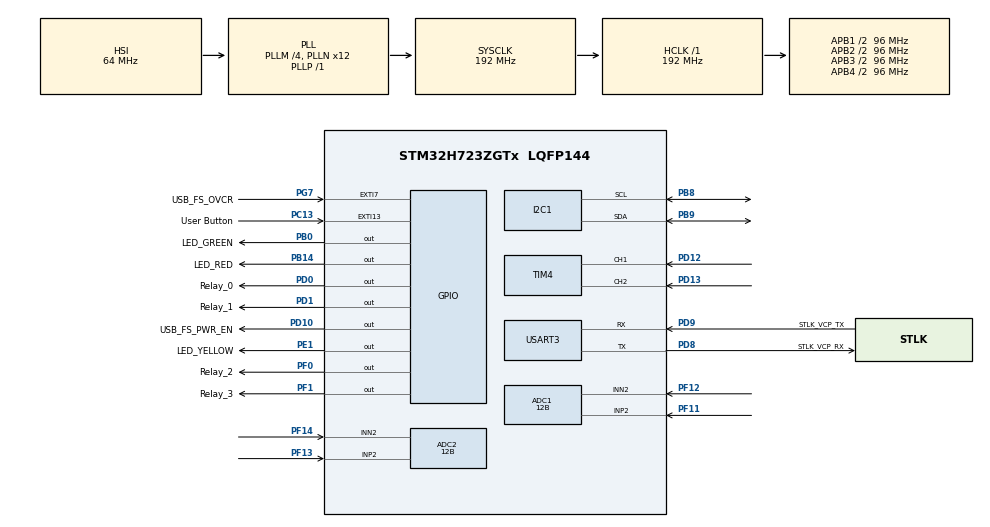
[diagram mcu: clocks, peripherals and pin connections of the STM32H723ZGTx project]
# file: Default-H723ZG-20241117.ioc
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ADC1.Channel-5\#ChannelRegularConversion=ADC_CHANNEL_2
ADC1.ClockPrescaler=ADC_CLOCK_ASYNC_DIV2
ADC1.ConversionDataManagement=ADC_CONVERSIONDATA_DMA_CIRCULAR
ADC1.DMAAccessModeView=ENABLE
ADC1.ExternalTrigConv=ADC_EXTERNALTRIG_T2_TRGO
ADC1.ExternalTrigConvEdge=ADC_EXTERNALTRIGCONVEDGE_RISING
ADC1.Mode=ADC_DUALMODE_REGSIMULT
ADC1.NbrOfConversionFlag=1
ADC1.OffsetNumber-5\#ChannelRegularConversion=ADC_OFFSET_NONE
ADC1.OffsetSignedSaturation-5\#ChannelRegularConversion=DISABLE
ADC1.Overrun=ADC_OVR_DATA_OVERWRITTEN
ADC1.Rank-5\#ChannelRegularConversion=1
ADC1.Resolution=ADC_RESOLUTION_12B
ADC1.SamplingTime-5\#ChannelRegularConversion=ADC_SAMPLETIME_32CYCLES_5
ADC1.SingleDiff-5\#ChannelRegularConversion=ADC_DIFFERENTIAL_ENDED
ADC1.master=1
ADC2.Channel-4\#ChannelRegularConversion=ADC_CHANNEL_2
ADC2.ClockPrescaler=ADC_CLOCK_ASYNC_DIV2
ADC2.ConversionDataManagement=ADC_CONVERSIONDATA_DMA_CIRCULAR
ADC2.DMAAccessModeView=ENABLE
ADC2.Mode=ADC_DUALMODE_REGSIMULT
ADC2.NbrOfConversionFlag=1
ADC2.OffsetNumber-4\#ChannelRegularConversion=ADC_OFFSET_NONE
ADC2.OffsetSignedSaturation-4\#ChannelRegularConversion=DISABLE
ADC2.Overrun=ADC_OVR_DATA_OVERWRITTEN
ADC2.Rank-4\#ChannelRegularConversion=1
ADC2.Resolution=ADC_RESOLUTION_12B
ADC2.SamplingTime-4\#ChannelRegularConversion=ADC_SAMPLETIME_32CYCLES_5
ADC2.SingleDiff-4\#ChannelRegularConversion=ADC_DIFFERENTIAL_ENDED
Dma.ADC1.0.Direction=DMA_PERIPH_TO_MEMORY
Dma.ADC1.0.EventEnable=DISABLE
Dma.ADC1.0.FIFOMode=DMA_FIFOMODE_DISABLE
Dma.ADC1.0.Instance=DMA1_Stream0
Dma.ADC1.0.MemDataAlignment=DMA_MDATAALIGN_WORD
Dma.ADC1.0.MemInc=DMA_MINC_ENABLE
Dma.ADC1.0.Mode=DMA_CIRCULAR
Dma.ADC1.0.PeriphDataAlignment=DMA_PDATAALIGN_WORD
Dma.ADC1.0.PeriphInc=DMA_PINC_DISABLE
Dma.ADC1.0.Polarity=HAL_DMAMUX_REQ_GEN_RISING
Dma.ADC1.0.Priority=DMA_PRIORITY_LOW
Dma.ADC1.0.RequestNumber=1
Dma.ADC1.0.SignalID=NONE
Dma.ADC1.0.SyncEnable=DISABLE
Dma.ADC1.0.SyncPolarity=HAL_DMAMUX_SYNC_NO_EVENT
Dma.ADC1.0.SyncRequestNumber=1
Dma.ADC1.0.SyncSignalID=NONE
Dma.ADC2.1.Direction=DMA_PERIPH_TO_MEMORY
Dma.ADC2.1.EventEnable=DISABLE
Dma.ADC2.1.FIFOMode=DMA_FIFOMODE_DISABLE
Dma.ADC2.1.Instance=DMA1_Stream1
Dma.ADC2.1.MemDataAlignment=DMA_MDATAALIGN_WORD
Dma.ADC2.1.MemInc=DMA_MINC_ENABLE
Dma.ADC2.1.Mode=DMA_CIRCULAR
Dma.ADC2.1.PeriphDataAlignment=DMA_PDATAALIGN_WORD
Dma.ADC2.1.PeriphInc=DMA_PINC_DISABLE
Dma.ADC2.1.Polarity=HAL_DMAMUX_REQ_GEN_RISING
Dma.ADC2.1.Priority=DMA_PRIORITY_LOW
Dma.ADC2.1.RequestNumber=1
Dma.ADC2.1.SignalID=NONE
Dma.ADC2.1.SyncEnable=DISABLE
Dma.ADC2.1.SyncPolarity=HAL_DMAMUX_SYNC_NO_EVENT
Dma.ADC2.1.SyncRequestNumber=1
Dma.ADC2.1.SyncSignalID=NONE
Dma.Request0=ADC1
Dma.Request1=ADC2
I2C1.I2C_Fall_Time=10
I2C1.I2C_Rise_Time=10
I2C1.Timing=0x10C0D7FF
Mcu.Family=STM32H7
Mcu.Name=STM32H723ZGTx
Mcu.Package=LQFP144
NVIC.DMA1_Stream0_IRQn=true\:0\:0\:false\:false\:true\:false\:true\:true
NVIC.DMA1_Stream1_IRQn=true\:0\:0\:false\:false\:true\:false\:true\:true
NVIC.EXTI15_10_IRQn=true\:0\:0\:false\:false\:true\:true\:true\:true
NVIC.PriorityGroup=NVIC_PRIORITYGROUP_4
NVIC.TIM6_DAC_IRQn=true\:0\:0\:false\:false\:true\:true\:true\:true
NVIC.USART3_IRQn=true\:0\:0\:false\:false\:true\:true\:true\:true
PA10.GPIO_Label=USB_FS_ID
PA10.Signal=USB_OTG_HS_ID
PA13(JTMS/SWDIO).GPIO_Label=SWDIO
PA13(JTMS/SWDIO).Signal=DEBUG_JTMS-SWDIO
PA14(JTCK/SWCLK).GPIO_Label=SWCLK
PA14(JTCK/SWCLK).Signal=DEBUG_JTCK-SWCLK
PA9.GPIO_Label=USB_FS_VBUS
PA9.Signal=USB_OTG_HS_VBUS
PB0.GPIO_Label=LED_GREEN
PB0.Signal=GPIO_Output
PB14.GPIO_Label=LED_RED
PB14.Signal=GPIO_Output
PB3(JTDO/TRACESWO).GPIO_Label=SWO
PB3(JTDO/TRACESWO).Signal=DEBUG_JTDO-SWO
PB8.GPIO_Pu=GPIO_PULLUP
PB8.GPIO_Speed=GPIO_SPEED_FREQ_VERY_HIGH
PB8.Mode=I2C
PB8.Signal=I2C1_SCL
PB9.GPIO_Pu=GPIO_PULLUP
PB9.GPIO_Speed=GPIO_SPEED_FREQ_VERY_HIGH
PB9.Mode=I2C
PB9.Signal=I2C1_SDA
PC13.GPIO_Label=User Button
PC13.GPIO_PuPd=GPIO_NOPULL
PC13.Signal=GPXTI13
PC14-OSC32_IN.Signal=RCC_OSC32_IN
PC15-OSC32_OUT.Signal=RCC_OSC32_OUT
PD0.GPIO_Label=Relay_0
PD0.Signal=GPIO_Output
PD1.GPIO_Label=Relay_1
PD1.Signal=GPIO_Output
PD10.GPIO_Label=USB_FS_PWR_EN
PD10.Signal=GPIO_Output
PD12.GPIO_PuPd=GPIO_PULLUP
PD12.Signal=S_TIM4_CH1
PD13.GPIO_PuPd=GPIO_PULLUP
PD13.Signal=S_TIM4_CH2
PD8.GPIO_Label=STLK_VCP_RX
PD8.Mode=Asynchronous
PD8.Signal=USART3_TX
PD9.GPIO_Label=STLK_VCP_TX
PD9.Mode=Asynchronous
PD9.Signal=USART3_RX
PE1.GPIO_Label=LED_YELLOW
PE1.Signal=GPIO_Output
PF0.GPIO_Label=Relay_2
PF0.Signal=GPIO_Output
PF1.GPIO_Label=Relay_3
PF1.Signal=GPIO_Output
PF11.Mode=IN2-Differential
PF11.Signal=ADC1_INP2
PF12.Mode=IN2-Differential
PF12.Signal=ADC1_INN2
PF13.Mode=IN2-Differential
PF13.Signal=ADC2_INP2
PF14.Mode=IN2-Differential
PF14.Signal=ADC2_INN2
PG7.GPIO_Label=USB_FS_OVCR
PG7.Signal=GPXTI7
PH0-OSC_IN.GPIO_Label=MCO
PH0-OSC_IN.Signal=RCC_OSC_IN
PH1-OSC_OUT.Signal=RCC_OSC_OUT
ProjectManager.HeapSize=0x200
ProjectManager.StackSize=0x400
ProjectManager.TargetToolchain=STM32CubeIDE
RCC.ADCFreq_Value=72000000
RCC.APB1Freq_Value=96000000
RCC.APB2Freq_Value=96000000
RCC.APB3Freq_Value=96000000
RCC.APB4Freq_Value=96000000
RCC.CortexFreq_Value=192000000
RCC.D1PPRE=RCC_APB3_DIV2
RCC.D2PPRE1=RCC_APB1_DIV2
RCC.D2PPRE2=RCC_APB2_DIV2
RCC.D3PPRE=RCC_APB4_DIV2
RCC.DIVM1=4
RCC.DIVM2=4
RCC.DIVN1=12
RCC.DIVN2=13
RCC.DIVP1=1
RCC.DIVP2=3
RCC.DIVQ1=4
RCC.HCLKFreq_Value=192000000
RCC.HSE_VALUE=8000000
RCC.PLL2FRACN=4096
RCC.PLLFRACN=0
RCC.RCC_TIM_PRescaler_Selection=RCC_TIMPRES_DESACTIVATED
RCC.SYSCLKFreq_VALUE=192000000
RCC.SYSCLKSource=RCC_SYSCLKSOURCE_PLLCLK
RCC.USBCLockSelection=RCC_USBCLKSOURCE_HSI48
RCC.USBFreq_Value=48000000
SH.S_TIM4_CH1.0=TIM4_CH1,Encoder_Interface
SH.S_TIM4_CH2.0=TIM4_CH2,Encoder_Interface
TIM2.AutoReloadPreload=TIM_AUTORELOAD_PRELOAD_ENABLE
TIM2.Period=41
TIM2.Prescaler=8-1
TIM2.TIM_MasterOutputTrigger=TIM_TRGO_UPDATE
TIM2.TIM_MasterSlaveMode=TIM_MASTERSLAVEMODE_DISABLE
TIM4.CounterMode=TIM_COUNTERMODE_UP
TIM4.EncoderMode=TIM_ENCODERMODE_TI12
TIM6.AutoReloadPreload=TIM_AUTORELOAD_PRELOAD_ENABLE
TIM6.Period=10000-1
TIM6.Prescaler=19200-1
USART3.VirtualMode-Asynchronous=VM_ASYNC
VP_CORDIC_VS_CORDIC.Mode=CORDIC_Activate
VP_MEMORYMAP_VS_MEMORYMAP.Mode=CurAppReg
VP_TIM2_VS_ClockSourceINT.Mode=Internal
VP_TIM6_VS_ClockSourceINT.Mode=Enable_Timer
board=NUCLEO-H723ZG

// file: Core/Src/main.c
/* USER CODE BEGIN Header */
/**
 ******************************************************************************
 * @file           : main.c
 * @brief          : Main program body
 ******************************************************************************
 * @attention
 *
 * Copyright (c) 2024 STMicroelectronics.
 * All rights reserved.
 *
 * This software is licensed under terms that can be found in the LICENSE file
 * in the root directory of this software component.
 * If no LICENSE file comes with this software, it is provided AS-IS.
 *
 ******************************************************************************
 */
/* USER CODE END Header */
#include "main.h"
#include "adc.h"
#include "cordic.h"
#include "dma.h"
#include "i2c.h"
#include "memorymap.h"
#include "tim.h"
#include "usart.h"
#include "gpio.h"

/* USER CODE BEGIN Includes */

#include "liquidcrystal_i2c.h"

//#include "i2c-lcd.h"
#include "stdio.h"
#include "stdlib.h"

/* USER CODE END Includes */

/* USER CODE BEGIN PD */

#define ADC_BUFFER 64
/* USER CODE END PD */

/* USER CODE BEGIN PV */
uint8_t TxBuf[] = "Hello world\n";

uint8_t tx_buff[7];
uint8_t rx_buff[7];

// ADC
__IO uint32_t ADC_ConvertedValue;

float ADC_Vol;

/* USER CODE END PV */

void SystemClock_Config(void);
void PeriphCommonClock_Config(void);
/* USER CODE BEGIN PFP */

#ifdef __GNUC__
#define PUTCHAR_PROTOTYPE int __io_putchar(int ch)
#else
#define PUTCHAR_PROTOTYPE int fputc(int ch, FILE *f)
#endif

PUTCHAR_PROTOTYPE {
	HAL_UART_Transmit(&huart3, (uint8_t*) &ch, 1, HAL_MAX_DELAY);
	return ch;
}

/* USER CODE END PFP */

/* USER CODE BEGIN 0 */

// i2c-lcd
int row = 0;
int col = 0;
uint32_t ADCArray[2] = { 0 };
// uint32_t voltage[2] = { 0 };

uint8_t DMA_FLAGG = 0;

//uint8_t ADC_FLAG = 0;
uint32_t ADC_Raw_Data[ADC_BUFFER];
//uint16_t ADC_1_Value_DMA[1024];
//uint16_t ADC_2_Value_DMA[1024];

uint16_t ADC_1_Value_DMA;
uint16_t ADC_2_Value_DMA;

/* USER CODE END 0 */

int main(void)
{

  /* MCU Configuration--------------------------------------------------------*/

  /* Reset of all peripherals, Initializes the Flash interface and the Systick. */
  HAL_Init();

  /* Configure the system clock */
  SystemClock_Config();

  /* Configure the peripherals common clocks */
  PeriphCommonClock_Config();

  /* Initialize all configured peripherals */
  MX_GPIO_Init();
  MX_DMA_Init();
  MX_ADC1_Init();
  MX_TIM4_Init();
  MX_USART3_UART_Init();
  MX_I2C1_Init();
  MX_TIM6_Init();
  MX_ADC2_Init();
  MX_CORDIC_Init();
  MX_TIM2_Init();
  /* USER CODE BEGIN 2 */

	HAL_TIM_Encoder_Start(&htim4, TIM_CHANNEL_1 | TIM_CHANNEL_2);

	HAL_TIM_Base_Start_IT(&htim6);
	HAL_TIM_Base_Stop_IT(&htim6);

//	HAL_ADCEx_Calibration_Start(&hadc2, ADC_CALIB_OFFSET_LINEARITY,ADC_DIFFERENTIAL_ENDED);
//	HAL_ADC_Start_IT(&hadc2);
//	HAL_TIM_Base_Start_IT(&htim2);

//	if (HAL_ADC_Start_DMA(&hadc2, (uint32_t*) voltage, 2) != HAL_OK) {
//		printf("ADC initialization error!\r\n");
//	}

//  HAL_ADCEx_Calibration_Start(&hadc1, ADC_CALIB_OFFSET_LINEARITY,ADC_DIFFERENTIAL_ENDED);

//	HAL_ADCEx_Calibration_Start(&hadc1);

//	 if(HAL_TIM_PWM_Start(&htim2, TIM_CHANNEL_1) != HAL_OK)
//	                Error_Handler();

	HAL_ADCEx_Calibration_Start(&hadc1, ADC_CALIB_OFFSET_LINEARITY,ADC_DIFFERENTIAL_ENDED);
	HAL_ADCEx_Calibration_Start(&hadc2, ADC_CALIB_OFFSET_LINEARITY,ADC_DIFFERENTIAL_ENDED);
	HAL_ADC_Start(&hadc2);
	HAL_ADCEx_MultiModeStart_DMA(&hadc1, (uint32_t *)ADC_Raw_Data, ADC_BUFFER);

	HAL_TIM_Base_Start(&htim2);

	//HAL_ADC_Start_IT(&hadc1, (uint32_t *)voltage, 2);
	//HAL_ADCEx_InjectedStart_IT(&hadc1);

	// Display Strings
//    lcd_init ();
//
//    lcd_put_cur(0, 0);
//    lcd_send_string ("HELLO WORLD");
//    lcd_put_cur(1, 0);
//    lcd_send_string("from CTECH");

	/* Initialize */
	HD44780_Init(2);

	/* Clear buffer */
	HD44780_Clear();

	/* Hide characters */
	HD44780_NoDisplay();
	HD44780_Cursor();
	HD44780_SetCursor(0, 0);
	HD44780_PrintStr("HELLO STM32!!!");
	HD44780_PrintSpecialChar(0);
	HAL_Delay(1000);

	/* Show characters */
	HD44780_Display();

	/* Move position */
	HD44780_SetCursor(0, 1);
	HD44780_PrintStr("BYE STM32!!!");
	HD44780_PrintSpecialChar(1);
	HAL_Delay(1000);

	/* Blink cursor */
	HD44780_Blink();

//  /* Scroll Right */
//  for(int i = 0; i < 3; i++)
//  {
//    HD44780_ScrollDisplayRight();
//    HAL_Delay(1000);
//  }
//
//  /* Scroll Left */
//  for(int i = 0; i < 3; i++)
//  {
//    HD44780_ScrollDisplayLeft();
//    HAL_Delay(1000);
//  }

//  HD44780_Display();

//  HD44780_Clear();
//  HD44780_SetCursor(0,0);
//  HD44780_PrintStr("Learning STM32 with LCD is fun :-)");
//
//  for(int x=0; x<40; x=x+1)
//  {
//    HD44780_ScrollDisplayLeft();  //HD44780_ScrollDisplayRight();
//    HAL_Delay(500);
//  }
//
	char snum[5];
	for (int x = 1; x <= 200; x++) {
		itoa(x, snum, 10);
		HD44780_Clear();
		HD44780_SetCursor(0, 0);
		HD44780_PrintStr(snum);
		HAL_Delay(10);
	}

	HAL_TIM_Base_Start_IT(&htim6);

  /* USER CODE END 2 */

  /* Infinite loop */
  /* USER CODE BEGIN WHILE */
//  char sdir[5];
//  char scount[10];
//	printf("Characters: %c %c\n", 'a', 65);
//	printf("Decimals: %d %ld\n", 1977, 650000L);
//	printf("Preceding with blanks: %10d\n", 1977);
//	printf("Preceding with zeros: %010d\n", 1977);
//	printf("Some different radices: %d %x %o %#x %#o\n", 100, 100, 100, 100, 100);
//	printf("floats: %4.2f %+.0e %E\n", 3.1416, 3.1416, 3.1416);
//	printf("Width trick: %*d\n", 5, 10);
//	printf("%s\n", "A string");

	while (1) {
    /* USER CODE END WHILE */

    /* USER CODE BEGIN 3 */

	if(DMA_FLAGG == 1){
		DMA_FLAGG = 0;
		for(int i=0; i<ADC_BUFFER; i++){
//			ADC_1_Value_DMA[i] = ADC_Raw_Data[i] & 0xffff;
			ADC_1_Value_DMA = ADC_Raw_Data[i] & 0xffff;
			ADC_Raw_Data[i] >>= 16;
//			ADC_2_Value_DMA[i] = ADC_Raw_Data[i] & 0xffff;
			ADC_2_Value_DMA = ADC_Raw_Data[i] & 0xffff;
		}

//		for(int i=0; i<1024; i++){
//			printf("%f, %f\n", (double)(ADC_1_Value_DMA[i]-32768),(double)(ADC_2_Value_DMA[i]-32768));
//		}
	}

		// HAL_UART_Transmit(&huart3, TxBuf, sizeof(TxBuf) -1 , 100);
		// HAL_UART_Transmit_IT(&huart3, TxBuf, sizeof(TxBuf));
//	  int Direction = __HAL_TIM_IS_TIM_COUNTING_DOWN(&htim4);
//	  int CaptureNumber = (short) __HAL_TIM_GET_COUNTER(&htim4);
//	  __HAL_TIM_GET_COUNTER(&htim4) = 0;
//
//	  HD44780_Clear();
//
//	  itoa(Direction, sdir, 10);
//	  itoa(CaptureNumber, scount, 10);
//
//	  HD44780_SetCursor(0,0);
//
//	  // HD44780_PrintStr(sdir);
//
//	  if(Direction == 0)
//	  {
//		  HD44780_PrintStr("Positive!");
//	  }
//	  else
//	  {
//		  HD44780_PrintStr("Negative!");
//
//	  }
//
//
//	  HD44780_SetCursor(0,1);
//	  HD44780_PrintStr(scount);
//	  HAL_GPIO_TogglePin(GPIOB, GPIO_PIN_0);
//	  HAL_Delay(1000);

//		 HAL_ADC_PollForConversion(&hadc2,0x01);
//		// HAL_ADC_PollForConversion(&hadc2,HAL_MAX_DELAY);
//
//		if(HAL_IS_BIT_SET(HAL_ADC_GetState(&hadc2),HAL_ADC_STATE_REG_EOC)){
//		    voltage[0] = HAL_ADC_GetValue(&hadc2);
//				voltage[0]=voltage[0]*3300/4095;
//		}
//		 HAL_ADC_PollForConversion(&hadc2,0x01);
//		//HAL_ADC_PollForConversion(&hadc2,HAL_MAX_DELAY);
//		if(HAL_IS_BIT_SET(HAL_ADC_GetState(&hadc2),HAL_ADC_STATE_REG_EOC)){
//		    voltage[1] = HAL_ADC_GetValue(&hadc2);
//				voltage[1]=voltage[1]*3300/4095;
//		}
//
//		printf("Voltage[0]: %d\n", (int)voltage[0]);
//		printf("Voltage[1]: %d\n", (int)voltage[1]);

		// HAL_Delay(100);
	}
  /* USER CODE END 3 */
}

void SystemClock_Config(void)
{
  RCC_OscInitTypeDef RCC_OscInitStruct = {0};
  RCC_ClkInitTypeDef RCC_ClkInitStruct = {0};

  /** Supply configuration update enable
  */
  HAL_PWREx_ConfigSupply(PWR_LDO_SUPPLY);

  /** Configure the main internal regulator output voltage
  */
  __HAL_PWR_VOLTAGESCALING_CONFIG(PWR_REGULATOR_VOLTAGE_SCALE1);

  while(!__HAL_PWR_GET_FLAG(PWR_FLAG_VOSRDY)) {}

  /** Initializes the RCC Oscillators according to the specified parameters
  * in the RCC_OscInitTypeDef structure.
  */
  RCC_OscInitStruct.OscillatorType = RCC_OSCILLATORTYPE_HSI;
  RCC_OscInitStruct.HSIState = RCC_HSI_DIV1;
  RCC_OscInitStruct.HSICalibrationValue = 64;
  RCC_OscInitStruct.PLL.PLLState = RCC_PLL_ON;
  RCC_OscInitStruct.PLL.PLLSource = RCC_PLLSOURCE_HSI;
  RCC_OscInitStruct.PLL.PLLM = 4;
  RCC_OscInitStruct.PLL.PLLN = 12;
  RCC_OscInitStruct.PLL.PLLP = 1;
  RCC_OscInitStruct.PLL.PLLQ = 4;
  RCC_OscInitStruct.PLL.PLLR = 2;
  RCC_OscInitStruct.PLL.PLLRGE = RCC_PLL1VCIRANGE_3;
  RCC_OscInitStruct.PLL.PLLVCOSEL = RCC_PLL1VCOWIDE;
  RCC_OscInitStruct.PLL.PLLFRACN = 0;
  if (HAL_RCC_OscConfig(&RCC_OscInitStruct) != HAL_OK)
  {
    Error_Handler();
  }

  /** Initializes the CPU, AHB and APB buses clocks
  */
  RCC_ClkInitStruct.ClockType = RCC_CLOCKTYPE_HCLK|RCC_CLOCKTYPE_SYSCLK
                              |RCC_CLOCKTYPE_PCLK1|RCC_CLOCKTYPE_PCLK2
                              |RCC_CLOCKTYPE_D3PCLK1|RCC_CLOCKTYPE_D1PCLK1;
  RCC_ClkInitStruct.SYSCLKSource = RCC_SYSCLKSOURCE_PLLCLK;
  RCC_ClkInitStruct.SYSCLKDivider = RCC_SYSCLK_DIV1;
  RCC_ClkInitStruct.AHBCLKDivider = RCC_HCLK_DIV1;
  RCC_ClkInitStruct.APB3CLKDivider = RCC_APB3_DIV2;
  RCC_ClkInitStruct.APB1CLKDivider = RCC_APB1_DIV2;
  RCC_ClkInitStruct.APB2CLKDivider = RCC_APB2_DIV2;
  RCC_ClkInitStruct.APB4CLKDivider = RCC_APB4_DIV2;

  if (HAL_RCC_ClockConfig(&RCC_ClkInitStruct, FLASH_LATENCY_2) != HAL_OK)
  {
    Error_Handler();
  }
}

void PeriphCommonClock_Config(void)
{
  RCC_PeriphCLKInitTypeDef PeriphClkInitStruct = {0};

  /** Initializes the peripherals clock
  */
  PeriphClkInitStruct.PeriphClockSelection = RCC_PERIPHCLK_ADC;
  PeriphClkInitStruct.PLL2.PLL2M = 4;
  PeriphClkInitStruct.PLL2.PLL2N = 13;
  PeriphClkInitStruct.PLL2.PLL2P = 3;
  PeriphClkInitStruct.PLL2.PLL2Q = 2;
  PeriphClkInitStruct.PLL2.PLL2R = 2;
  PeriphClkInitStruct.PLL2.PLL2RGE = RCC_PLL2VCIRANGE_3;
  PeriphClkInitStruct.PLL2.PLL2VCOSEL = RCC_PLL2VCOWIDE;
  PeriphClkInitStruct.PLL2.PLL2FRACN = 4096;
  PeriphClkInitStruct.AdcClockSelection = RCC_ADCCLKSOURCE_PLL2;
  if (HAL_RCCEx_PeriphCLKConfig(&PeriphClkInitStruct) != HAL_OK)
  {
    Error_Handler();
  }
}

/* USER CODE BEGIN 4 */
void HAL_UART_RxCpltCallback(UART_HandleTypeDef *huart) {
	HAL_UART_Receive_IT(&huart3, rx_buff, sizeof(rx_buff));

	//memcpy();

	//HAL_UART_Transmit_IT(&huart3, TxBuf, sizeof(TxBuf));

	for (int i = 0; i < sizeof(rx_buff); i++) {
		tx_buff[i] = rx_buff[i];
		rx_buff[i] = '\0';

	}

	HAL_UART_Transmit_IT(&huart3, tx_buff, sizeof(tx_buff));

	// memset(rx_buff,0 , sizeof(rx_buff));
	// strcpy(rx_buff, tx_buff);

}

void HAL_TIM_PeriodElapsedCallback(TIM_HandleTypeDef *htim) {
//	char sdir[5];
//	char scount[10];

	char x1_col_str[10];
	char x2_col_str[10];

	int Direction = 0;
	int CaptureNumber = 0;

	if(htim->Instance == TIM2){
		// HAL_ADC_Start_DMA(&hadc1, (uint32_t *)voltage, 2);
	}

	if (htim->Instance == TIM6) {
		HAL_GPIO_TogglePin(GPIOB, GPIO_PIN_0);
		Direction = __HAL_TIM_IS_TIM_COUNTING_DOWN(&htim4);
		CaptureNumber = (short) __HAL_TIM_GET_COUNTER(&htim4);
		__HAL_TIM_GET_COUNTER(&htim4) = 0;

//		HD44780_Clear();
//
//		itoa(Direction, sdir, 10);
//		itoa(CaptureNumber, scount, 10);
//
//		HD44780_SetCursor(0, 0);
//
//		if (Direction == 0)
//			HD44780_PrintStr("Positive!");
//		else
//			HD44780_PrintStr("Negative!");
//
//		HD44780_SetCursor(0, 1);
//		HD44780_PrintStr(scount);
//
//
//		HAL_ADC_Start(&hadc1);
//		HAL_ADC_PollForConversion(&hadc1, 10);
//		ADC_ConvertedValue = HAL_ADC_GetValue(&hadc1);
//		printf("ADC_ConvertedValue : %d\n", (int)ADC_ConvertedValue);

//		HD44780_Clear();
//		HD44780_SetCursor(0, 0);
//		HD44780_PrintStr("X:");
//		HD44780_SetCursor(2, 0);
//		itoa(ADC_1_Value_DMA, x1_col_str,10);
//		HD44780_PrintStr(x1_col_str);
//
//
//		HD44780_SetCursor(0, 1);
//		HD44780_PrintStr("Y:");
//		HD44780_SetCursor(2, 1);
//
//		itoa(ADC_2_Value_DMA, x2_col_str,10);
//		HD44780_PrintStr(x2_col_str);

	}
}

void HAL_ADC_ConvCpltCallback(ADC_HandleTypeDef *hadc) {

	if (hadc->Instance == ADC2) {
		//HAL_ADC_Start_DMA(&hadc2, (uint32_t *)voltage, 2);
//		printf("Voltage[0]: %d\n", (int) voltage[0]);
//		printf("Voltage[1]: %d\n", (int) voltage[1]);
	}else if(hadc->Instance == ADC1){
		// Do not thing!
		// HAL_ADC_Start_DMA(&hadc1, (uint32_t *)voltage, 2);

		//HAL_TIM_Base_Stop(&htim2);
	}

	DMA_FLAGG  = 1;
}

void HAL_ADCEx_InjectedConvCpltCallback(ADC_HandleTypeDef* hadc) {
    if (hadc->Instance == ADC1) {
    	// HAL_ADC_Start_DMA(&hadc1, (uint32_t *)voltage, 2);
    }
}

void HAL_GPIO_EXTI_Callback(uint16_t GPIO_PIN)
{
	// User_Button_Pin
	if(GPIO_PIN == User_Button_Pin)
	{

		//ADC_ConvertedValue = HAL_ADC_GetValue(&hadc1);

//		HAL_ADC_Start(&hadc1);
//		HAL_ADC_PollForConversion(&hadc1, 10);
//		ADC_ConvertedValue = HAL_ADC_GetValue(&hadc1);
//		printf("ADC_ConvertedValue : %d\n", (int)ADC_ConvertedValue);
	}
}

/* USER CODE END 4 */

void Error_Handler(void)
{
	__disable_irq();
	while (1) {
	}
}
